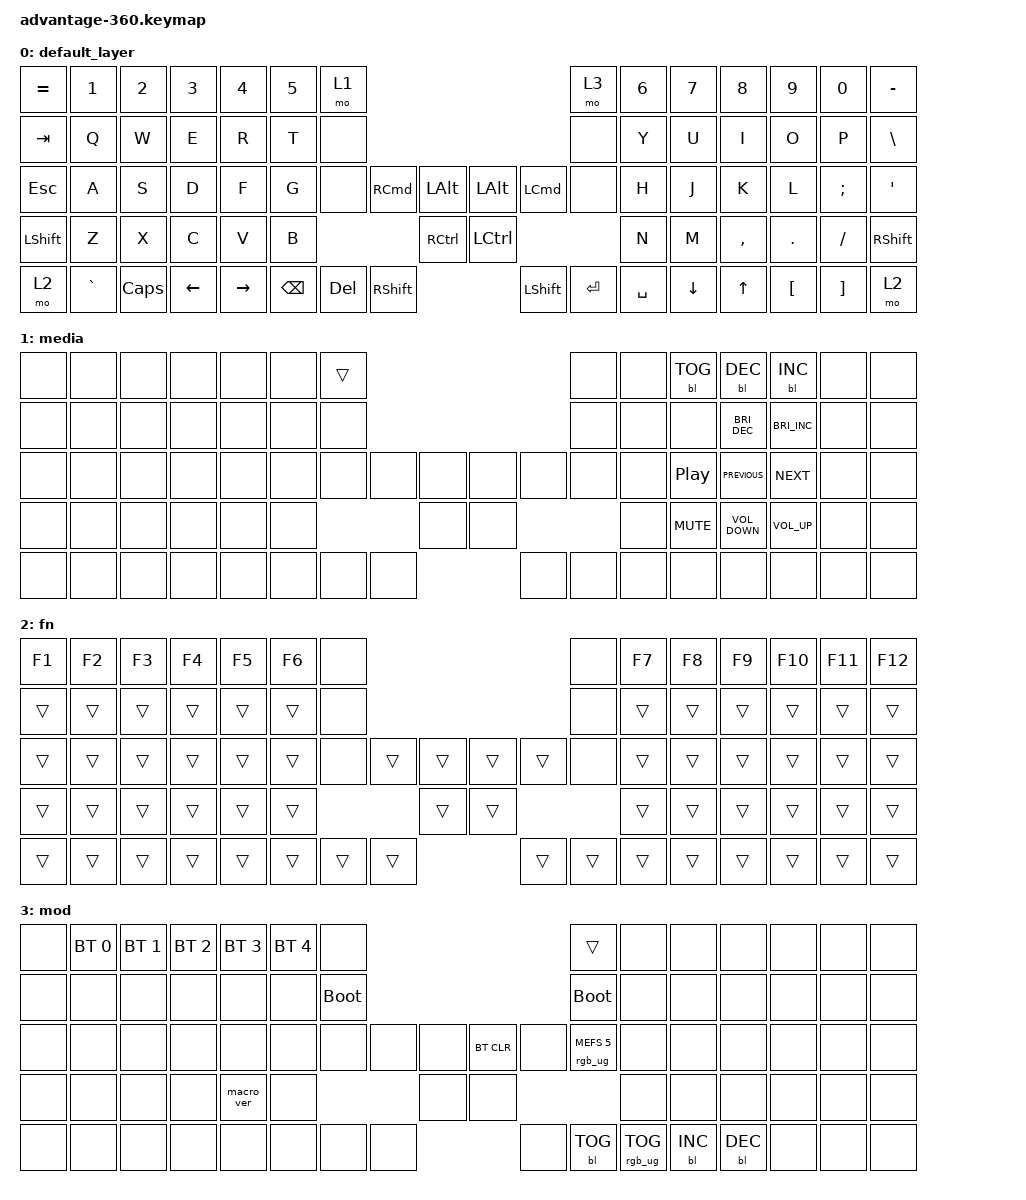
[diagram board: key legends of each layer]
#include <behaviors.dtsi>
#include <dt-bindings/zmk/backlight.h>
#include <dt-bindings/zmk/bt.h>
#include <dt-bindings/zmk/keys.h>
#include <dt-bindings/zmk/rgb.h>

/ {
    behaviors {
        #include "macros.dtsi"
      #include "version.dtsi"
      #ifndef VERSION_MACRO

        macro_ver: macro_ver {
            compatible = "zmk,behavior-macro";
            label = "macro_version";
            #binding-cells = <0>;
            bindings = <&kp RET>;
        };

        #endif

        hm: homerow_mods {
            compatible = "zmk,behavior-hold-tap";
            label = "HOMEROW_MODS";
            #binding-cells = <2>;
            tapping-term-ms = <200>;
            quick_tap_ms = <175>;
            flavor = "tap-preferred";
            bindings = <&kp>, <&kp>;
        };
    };

    macros {
    };

    keymap {
        compatible = "zmk,keymap";

        default_layer {
            bindings = <
&kp EQUAL  &kp N1     &kp N2     &kp N3    &kp N4     &kp N5  &mo 1                                                                                            &mo 3  &kp N6  &kp N7    &kp N8     &kp N9    &kp N0    &kp MINUS
&kp TAB    &kp Q      &kp W      &kp E     &kp R      &kp T   &none                                                                                            &none  &kp Y   &kp U     &kp I      &kp O     &kp P     &kp BSLH
&kp ESC    &kp A      &kp S      &kp D     &kp F      &kp G   &none            &kp RIGHT_COMMAND  &kp LALT      &kp LALT          &kp LEFT_COMMAND             &none  &kp H   &kp J     &kp K      &kp L     &kp SEMI  &kp SQT
&kp LSHFT  &kp Z      &kp X      &kp C     &kp V      &kp B                                       &kp RCTRL     &kp LEFT_CONTROL                                      &kp N   &kp M     &kp COMMA  &kp DOT   &kp FSLH  &kp RSHFT
&mo 2      &kp GRAVE  &kp CAPS   &kp LEFT  &kp RIGHT                 &kp BSPC  &kp DEL            &kp RSHIFT    &kp LSHIFT        &kp ENTER         &kp SPACE                 &kp DOWN  &kp UP     &kp LBKT  &kp RBKT  &mo 2
            >;
        };

        media {
            bindings = <
&none  &none  &none  &none  &none  &none  &trans                                              &none  &none  &bl BL_TOG        &bl BL_DEC            &bl BL_INC            &none  &none
&none  &none  &none  &none  &none  &none  &none                                               &none  &none  &none             &kp C_BRIGHTNESS_DEC  &kp C_BRIGHTNESS_INC  &none  &none
&none  &none  &none  &none  &none  &none  &none          &none  &none    &none  &none         &none  &none  &kp C_PLAY_PAUSE  &kp C_PREVIOUS        &kp C_NEXT            &none  &none
&none  &none  &none  &none  &none  &none                        &none    &none                       &none  &kp C_MUTE        &kp C_VOLUME_DOWN     &kp C_VOLUME_UP       &none  &none
&none  &none  &none  &none  &none                 &none  &none  &none    &none  &none  &none                &none             &none                 &none                 &none  &none
            >;
        };

        fn {
            bindings = <
&kp F1  &kp F2  &kp F3  &kp F4  &kp F5  &kp F6  &none                                                    &none  &kp F7  &kp F8  &kp F9  &kp F10  &kp F11  &kp F12
&trans  &trans  &trans  &trans  &trans  &trans  &none                                                    &none  &trans  &trans  &trans  &trans   &trans   &trans
&trans  &trans  &trans  &trans  &trans  &trans  &none          &trans  &trans    &trans  &trans          &none  &trans  &trans  &trans  &trans   &trans   &trans
&trans  &trans  &trans  &trans  &trans  &trans                         &trans    &trans                         &trans  &trans  &trans  &trans   &trans   &trans
&trans  &trans  &trans  &trans  &trans                 &trans  &trans  &trans    &trans  &trans  &trans                 &trans  &trans  &trans   &trans   &trans
            >;
        };

        mod {
            bindings = <
&none  &bt BT_SEL 0  &bt BT_SEL 1  &bt BT_SEL 2  &bt BT_SEL 3  &bt BT_SEL 4  &none                                                                        &trans                  &none  &none       &none       &none  &none  &none
&none  &none         &none         &none         &none         &none         &bootloader                                                                  &bootloader             &none  &none       &none       &none  &none  &none
&none  &none         &none         &none         &none         &none         &none               &none  &none    &bt BT_CLR  &none                        &rgb_ug RGB_MEFS_CMD 5  &none  &none       &none       &none  &none  &none
&none  &none         &none         &none         &macro_ver    &none                                    &none    &none                                                            &none  &none       &none       &none  &none  &none
&none  &none         &none         &none         &none                                    &none  &none  &none    &none       &bl BL_TOG  &rgb_ug RGB_TOG                                 &bl BL_INC  &bl BL_DEC  &none  &none  &none
            >;
        };
    };
};
